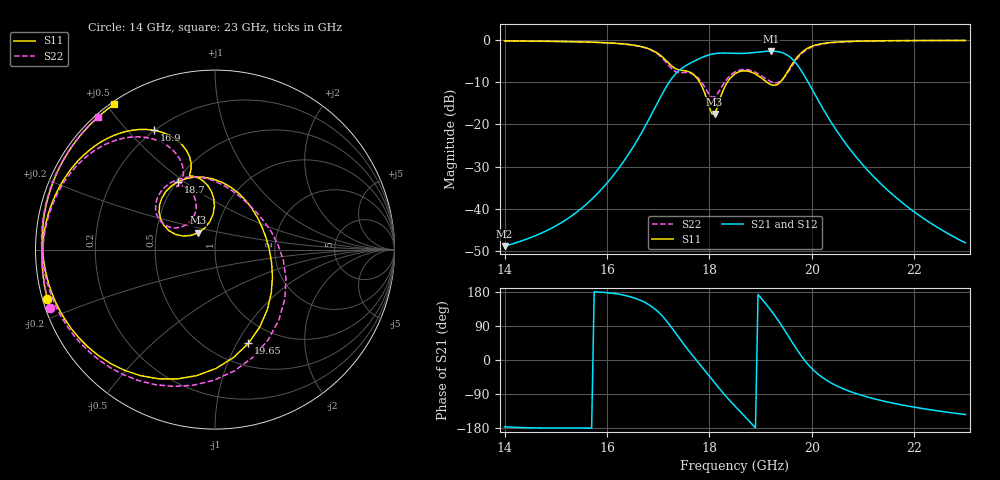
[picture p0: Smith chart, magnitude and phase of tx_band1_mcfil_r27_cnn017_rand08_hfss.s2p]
! Touchstone file exported from HFSS 3D Layout Design 2026.1.0
!  File:  D:/Work/SIM/ADS_AUTO_SIM/projects/RFSOC_RF/TX_Fillter.aedt
!  Generated:  02:13:59 AM Aug 31, 2026
!  Design:  TX_BAND1_MCFIL_R27_CNN017
!  Project:  TX_Fillter
# GHz S MA R 50.000000
! Terminal data exported
! Port[1] = Port1
! Port[2] = Port2
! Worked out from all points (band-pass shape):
!   181 points, 14 GHz to 23 GHz, reference 50 ohm
!   highest |S21| = -2.65 dB at 19.2 GHz (marker M1); lowest = -48.8 dB at 14 GHz (marker M2)
!   |S21| within 3 dB of the highest: 17.6 GHz to 19.7 GHz (2.098 GHz wide, 11.2 % of centre)
!   lowest |S11| = -17.6 dB at 18.1 GHz (marker M3), VSWR 1.31, Z = 40.7 + j7.76 ohm
!   |S11| at or under -10 dB: 17.81 GHz to 18.35 GHz (540.4 MHz wide, 2.99 % of centre); 19.12 GHz to 19.38 GHz (257.8 MHz wide, 1.34 % of centre)
!   |S22| runs from -13.6 to -0.1 dB; largest |S21 - S12| = 1.4e-14
!   S11 on the Smith chart (normalised r, x): 14 GHz: 0.01, -0.15; 16.9 GHz: 0.20, +0.59; 18.7 GHz: 0.51, +0.47; 19.65 GHz: 0.74, -1.12; 23 GHz: 0.01, +0.52
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14  0.9735 -163.5  0.003632 -176.2  0.003632 -176.2  0.9744 -160.4
15.5  0.9472 166.2  0.01016 -179.4  0.01016 -179.4  0.9481 170.3
16.3  0.8985 143.4  0.03473 172.0  0.03473 172.0  0.8983 148.1
16.9  0.7464 117.1  0.1428 138.2  0.1428 138.2  0.7362 121.8
17  0.6873 111.9  0.1868 126.9  0.1868 126.9  0.6716 116.7
17.2  0.5354 105.3  0.307 96.7  0.307 96.7  0.5037 111.1
17.45  0.4373 109.0  0.4561 50.4  0.4561 50.4  0.4093 120.9
17.8  0.3245 93.6  0.5996 -9.4  0.5996 -9.4  0.3442 112.1
18.1  0.1326 135.1  0.6881 -59.6  0.6881 -59.6  0.2106 138.5
18.3  0.2785 157.6  0.6991 -92.1  0.6991 -92.1  0.3174 153.7
18.5  0.3971 141.0  0.6921 -121.8  0.6921 -121.8  0.4183 142.1
18.7  0.4307 118.5  0.6945 -150.2  0.6945 -150.2  0.4471 123.6
18.95  0.3781 84.5  0.7183 173.0  0.7183 173.0  0.3983 96.4
19.2  0.2963 37.0  0.7374 131.3  0.7374 131.3  0.321 61.1
19.4  0.3244 -13.3  0.7129 93.0  0.7129 93.0  0.3289 17.7
19.65  0.5544 -70.4  0.5678 39.9  0.5678 39.9  0.5296 -47.8
19.85  0.7508 -106.3  0.3815 0.8  0.3815 0.8  0.7274 -90.3
20  0.8405 -126.8  0.2638 -22.3  0.2638 -22.3  0.8227 -113.8
20.25  0.9134 -151.1  0.1425 -50.0  0.1425 -50.0  0.9032 -140.9
20.55  0.9486 -170.4  0.07394 -72.2  0.07394 -72.2  0.9432 -161.9
21.5  0.9785 155.2  0.0163 -111.4  0.0163 -111.4  0.9774 162.1
23  0.9854 124.7  0.003973 -144.0  0.003973 -144.0  0.9853 131.3
